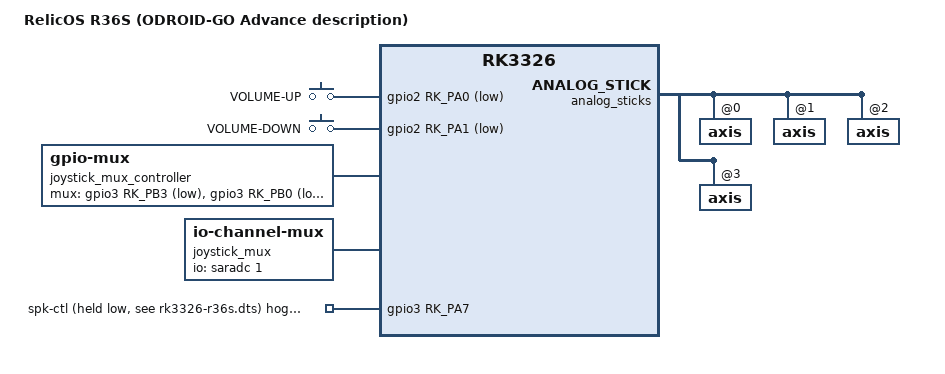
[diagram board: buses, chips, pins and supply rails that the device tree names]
// SPDX-License-Identifier: (GPL-2.0+ OR MIT)
/*
 * RelicOS base device tree for the R36S.
 *
 * This is the mainline ODROID-GO Advance description under a name of our own,
 * with exactly three hardware differences described so far: the panel, the
 * button wiring and the muxed analog sticks (all below). The R36S is close
 * enough to an OGA to bring a kernel up on the serial console; the real
 * differences were each added one change at a time, with the device
 * watching (M6, M7, M8).
 *
 *   - model is what the kernel prints as "Machine model:", so the serial log
 *     proves which DTB was loaded;
 *   - the OGA compatible string is kept in the list, because that is honestly
 *     what this file still mostly describes.
 */

/dts-v1/;
#include "rk3326-odroid-go2.dts"

/ {
	model = "RelicOS R36S (ODROID-GO Advance description)";
	compatible = "relicos,r36s", "hardkernel,rk3326-odroid-go2",
		     "rockchip,rk3326";
};

/*
 * The panel: this unit's actual glass, an R36S "panel 5" (ST7703-family
 * controller, 640x480, 4 lanes), described as data for the generic DSI
 * panel driver (rocknix,generic-dsi, kernel patch 0001) -- timings, flags
 * and the full DCS init sequence live in panel_description; the init runs
 * from .prepare, in command mode, before video starts.
 *
 * How this file got here (M6, one observation per change):
 *  - phase A carried the ArkOS Panel 4 description on this same driver --
 *    device-proven 2026-08-31: init crossed the link with zero errors,
 *    vblanks flowed, backlight lit, and the image was garbled exactly as
 *    predicted for panel-4 data on panel-5 glass. Pipeline validated.
 *  - phase B (this file) swaps only the data: the panel-5 description
 *    generated by attempt 1 from this unit's vendor DTB (AeolusUX
 *    "Panel 5", importpanel.py). SETMIPI here says 0x33 = 4 lanes -- the
 *    2-lane 0x31 of the chi-panel route is what died in take 1.
 *
 * Two mechanical deviations from the generated overlay, both deliberate:
 *  - the leading name='R36S Panel 5' token is stripped: this driver
 *    revision aborts G-line parsing at any unknown parameter, and name=
 *    comes first -- keeping it would silently discard lanes/flags/delays;
 *  - the generator's "# failed to find mode for fps=60" comment line is
 *    dropped as inert noise.
 * Everything else -- flags=0xe03, the vendor delays, all 11 modes with the
 * vendor's 40760 kHz default, every init byte -- is verbatim from the
 * generated overlay: the reference for this unit's glass is its own vendor
 * DTB.
 *
 * Property mechanics: vdd-supply and iovcc-supply are inherited from the
 * OGA base node (both vcc_lcd) and generic-dsi asks for exactly those
 * names; rotation is deleted because this is landscape glass mounted the
 * right way up; reset-gpios (gpio3 PC0) and backlight are inherited
 * unchanged -- measured identical across OGA and every R36S tree compared.
 */
&internal_display {
	compatible = "rocknix,generic-dsi";
	/delete-property/ rotation;
	panel_description =
		"G size=71,71 delays=100,50,20,200,20 format=rgb888 lanes=4 flags=0xe03",

		"M clock=40760 horizontal=640,120,139,120 vertical=480,17,5,13 default=1",
		"M clock=27650 horizontal=640,188,9,190 vertical=480,13,41,5",
		"M clock=25500 horizontal=640,188,2,190 vertical=480,13,2,5",
		"M clock=23930 horizontal=640,87,39,87 vertical=480,13,63,5",
		"M clock=23460 horizontal=640,87,2,87 vertical=480,13,2,5",
		"M clock=26600 horizontal=640,87,20,87 vertical=480,13,36,5",
		"M clock=24840 horizontal=640,87,5,87 vertical=480,13,8,5",
		"M clock=30620 horizontal=640,87,38,87 vertical=480,13,100,5",
		"M clock=43580 horizontal=640,120,168,120 vertical=480,17,41,13",
		"M clock=46350 horizontal=640,120,120,120 vertical=480,17,5,13",
		"M clock=61800 horizontal=640,120,120,120 vertical=480,17,5,13",

		"I seq=b9f11283",
		"I seq=ba338105f90e0e2000000000000000442500910a0000024fd1000037",
		"I seq=b825",
		"I seq=bf021100",
		"I seq=b30c100a5003ff00000000",
		"I seq=c0737350500000087000",
		"I seq=bc46",
		"I seq=cc0b",
		"I seq=b480",
		"I seq=b20013f0",
		"I seq=e307070b0b030b00000000ff00c010",
		"I seq=c153001e1e77e1ccdd67773333",
		"I seq=b51010",
		"I seq=b66c7c",
		"I seq=e908000e0000b0b11131232810b0b127080004020000000004020000008888ba60240888888888888888ba713518888888888800000001000000000000000000",
		"I seq=ea970a820213070000000000008088ba17538888888888888188ba0642888888888888231000028000000000000000000000000000000000000000000000",
		"I seq=e000070b272d3f3b37050a0b0f110f12121800070b272d3f3b37050a0b0f110f121218",
		"I seq=11 wait=150",
		"I seq=29 wait=50";
};

/*
 * The buttons: the R36S wiring, transplanted as data into the mainline
 * gpio-keys driver that has been probing since M4 (M7, one change: this
 * DTS only -- kernel, fragment and boot script untouched).
 *
 * The GPIO->function map comes from two independent lineages that agree
 * entry for entry -- the Arch-R DTS (odroidgo3-joypad node, sw1-sw22) and
 * ROCKNIX (rocknix-r36s.dts / r3xs.dtsi) -- and was device-validated on
 * this unit 2026-08-31 (M7 recon, all 20 table cells confirmed): 10
 * buttons already correct under the inherited OGA map, 5 firing with OGA
 * function-key codes, 4 silent because their gpio3 lines had no
 * description (and float without the pull-ups added below).
 *
 * Layout notes:
 *  - the OGA button-sw* nodes are deleted wholesale and the 17 gamepad
 *    buttons re-described from the R36S table, so this node reads as what
 *    it is: the R36S map, not an OGA diff. Y/X keep the OGA codes on
 *    purpose -- PA6 = Y = BTN_WEST, PA7 = X = BTN_NORTH was confirmed on
 *    this unit (recon pressed X first; the codes matched the wiring).
 *  - volume lives in its own gpio-keys node because autorepeat is a
 *    per-device property: VOLUMEUP/DOWN are keyboard-style keys that
 *    should repeat while held, gamepad buttons must not (games read
 *    held state; menu repeat is the frontend's job). Same split as
 *    Arch-R; ROCKNIX ships no autorepeat at all.
 *  - the analog sticks live in their own section below (M8): mainline
 *    adc-joystick behind an IIO mux -- no buttons in it, the 19 above
 *    stay exactly where M7 proved them.
 */
&builtin_gamepad {
	/delete-node/ button-sw1;
	/delete-node/ button-sw2;
	/delete-node/ button-sw3;
	/delete-node/ button-sw4;
	/delete-node/ button-sw5;
	/delete-node/ button-sw6;
	/delete-node/ button-sw7;
	/delete-node/ button-sw8;
	/delete-node/ button-sw9;
	/delete-node/ button-sw10;
	/delete-node/ button-sw11;
	/delete-node/ button-sw12;
	/delete-node/ button-sw13;
	/delete-node/ button-sw14;
	/delete-node/ button-sw15;
	/delete-node/ button-sw16;

	button-dpad-up {
		gpios = <&gpio1 RK_PB4 GPIO_ACTIVE_LOW>;
		label = "DPAD-UP";
		linux,code = <BTN_DPAD_UP>;
	};
	button-dpad-down {
		gpios = <&gpio1 RK_PB5 GPIO_ACTIVE_LOW>;
		label = "DPAD-DOWN";
		linux,code = <BTN_DPAD_DOWN>;
	};
	button-dpad-left {
		gpios = <&gpio1 RK_PB6 GPIO_ACTIVE_LOW>;
		label = "DPAD-LEFT";
		linux,code = <BTN_DPAD_LEFT>;
	};
	button-dpad-right {
		gpios = <&gpio1 RK_PB7 GPIO_ACTIVE_LOW>;
		label = "DPAD-RIGHT";
		linux,code = <BTN_DPAD_RIGHT>;
	};
	button-a {
		gpios = <&gpio1 RK_PA2 GPIO_ACTIVE_LOW>;
		label = "BTN-A";
		linux,code = <BTN_EAST>;
	};
	button-b {
		gpios = <&gpio1 RK_PA5 GPIO_ACTIVE_LOW>;
		label = "BTN-B";
		linux,code = <BTN_SOUTH>;
	};
	button-y {
		gpios = <&gpio1 RK_PA6 GPIO_ACTIVE_LOW>;
		label = "BTN-Y";
		linux,code = <BTN_WEST>;
	};
	button-x {
		gpios = <&gpio1 RK_PA7 GPIO_ACTIVE_LOW>;
		label = "BTN-X";
		linux,code = <BTN_NORTH>;
	};
	button-thumbl {
		gpios = <&gpio2 RK_PA2 GPIO_ACTIVE_LOW>;
		label = "BTN-THUMBL";
		linux,code = <BTN_THUMBL>;
	};
	button-thumbr {
		gpios = <&gpio2 RK_PA3 GPIO_ACTIVE_LOW>;
		label = "BTN-THUMBR";
		linux,code = <BTN_THUMBR>;
	};
	button-fn {
		gpios = <&gpio2 RK_PA4 GPIO_ACTIVE_LOW>;
		label = "BTN-FN";
		linux,code = <BTN_MODE>;
	};
	button-l1 {
		gpios = <&gpio2 RK_PA6 GPIO_ACTIVE_LOW>;
		label = "BTN-L1";
		linux,code = <BTN_TL>;
	};
	button-r1 {
		gpios = <&gpio2 RK_PA7 GPIO_ACTIVE_LOW>;
		label = "BTN-R1";
		linux,code = <BTN_TR>;
	};
	button-select {
		gpios = <&gpio3 RK_PB1 GPIO_ACTIVE_LOW>;
		label = "BTN-SELECT";
		linux,code = <BTN_SELECT>;
	};
	button-l2 {
		gpios = <&gpio3 RK_PB2 GPIO_ACTIVE_LOW>;
		label = "BTN-L2";
		linux,code = <BTN_TL2>;
	};
	button-start {
		gpios = <&gpio3 RK_PB4 GPIO_ACTIVE_LOW>;
		label = "BTN-START";
		linux,code = <BTN_START>;
	};
	button-r2 {
		gpios = <&gpio3 RK_PB7 GPIO_ACTIVE_LOW>;
		label = "BTN-R2";
		linux,code = <BTN_TR2>;
	};
};

/ {
	gpio_keys_vol: gpio-keys-vol {
		compatible = "gpio-keys";
		autorepeat;
		pinctrl-names = "default";
		pinctrl-0 = <&btn_pins_vol>;

		button-vol-up {
			gpios = <&gpio2 RK_PA0 GPIO_ACTIVE_LOW>;
			label = "VOLUME-UP";
			linux,code = <KEY_VOLUMEUP>;
		};
		button-vol-down {
			gpios = <&gpio2 RK_PA1 GPIO_ACTIVE_LOW>;
			label = "VOLUME-DOWN";
			linux,code = <KEY_VOLUMEDOWN>;
		};
	};
};

/*
 * Button pull-ups. Overriding rockchip,pins replaces the OGA list whole,
 * so this is the full R36S set: the inherited gpio1/gpio2 pins minus the
 * ghost (gpio2 PA5 -- OGA F6, no button on this board) and minus PA0/PA1
 * (volume, moved to btn_pins_vol with its own node above), plus the four
 * gpio3 lines no distro DTB describes together with this panel. Without
 * a pull-up an undescribed line floats and "presses itself".
 */
&btn_pins {
	rockchip,pins = <1 RK_PA2 RK_FUNC_GPIO &pcfg_pull_up>,
			<1 RK_PA5 RK_FUNC_GPIO &pcfg_pull_up>,
			<1 RK_PA6 RK_FUNC_GPIO &pcfg_pull_up>,
			<1 RK_PA7 RK_FUNC_GPIO &pcfg_pull_up>,
			<1 RK_PB4 RK_FUNC_GPIO &pcfg_pull_up>,
			<1 RK_PB5 RK_FUNC_GPIO &pcfg_pull_up>,
			<1 RK_PB6 RK_FUNC_GPIO &pcfg_pull_up>,
			<1 RK_PB7 RK_FUNC_GPIO &pcfg_pull_up>,
			<2 RK_PA2 RK_FUNC_GPIO &pcfg_pull_up>,
			<2 RK_PA3 RK_FUNC_GPIO &pcfg_pull_up>,
			<2 RK_PA4 RK_FUNC_GPIO &pcfg_pull_up>,
			<2 RK_PA6 RK_FUNC_GPIO &pcfg_pull_up>,
			<2 RK_PA7 RK_FUNC_GPIO &pcfg_pull_up>,
			<3 RK_PB1 RK_FUNC_GPIO &pcfg_pull_up>,
			<3 RK_PB2 RK_FUNC_GPIO &pcfg_pull_up>,
			<3 RK_PB4 RK_FUNC_GPIO &pcfg_pull_up>,
			<3 RK_PB7 RK_FUNC_GPIO &pcfg_pull_up>;
};

&pinctrl {
	btns {
		btn_pins_vol: btn-pins-vol {
			rockchip,pins = <2 RK_PA0 RK_FUNC_GPIO &pcfg_pull_up>,
					<2 RK_PA1 RK_FUNC_GPIO &pcfg_pull_up>;
		};
	};

	joystick {
		/* The mux enable line, held asserted (the pin is active-low)
		 * by pinctrl at boot: the analog mux is simply always on.
		 * No conflict with btn_pins: buttons use gpio3 PB1/PB2/PB4/
		 * PB7, the mux uses PB0/PB3/PB5. */
		mux_en_pins: mux-en-pins {
			rockchip,pins = <3 RK_PB5 RK_FUNC_GPIO &pcfg_output_low>;
		};
	};
};

/*
 * The analog sticks: four axes (two sticks x X/Y) multiplexed onto a single
 * SARADC input (channel 1) through GPIO select lines -- described for
 * mainline drivers only (M8): gpio-mux drives the select lines,
 * io-channel-mux presents SARADC channel 1 as four virtual IIO channels,
 * and adc-joystick (the node inherited from the OGA base, rewired below)
 * consumes one channel per axis. No out-of-tree joypad driver, no kernel
 * API patches.
 *
 * The wiring comes from the same two lineages that agreed on the buttons
 * (M7): select A/B = gpio3 PB3/PB0, enable = PB5, all active-low, SARADC
 * channel 1 -- identical between Arch-R's amux-*-gpios and nixos-r36s's
 * mux-gpios/mux_en_pins. The channel->axis map and the two inversions also
 * agree once the GPIO polarity conventions are unwound (Arch-R's legacy
 * gpio API sets raw levels, gpio-mux sets logical ones, and every select
 * line is active-low): mux state 0/1/2/3 = ABS_X/ABS_RX/ABS_Y/ABS_RY,
 * left stick inverted on both axes. Arch-R spells the inversion
 * "invert-absx/invert-absy, required for RG36S"; here it is abs-range
 * with min > max, which mainline adc-joystick honors natively.
 *
 * The abs-range numbers are nixos-r36s's, measured on *their* unit: the
 * starting point, expected to need per-unit recalibration against raw
 * sysfs reads of the mux channels (the M8 observation ladder).
 * poll-interval = <60> ms is inherited from the OGA node.
 */
/ {
	joystick_mux_controller: mux-controller {
		compatible = "gpio-mux";
		pinctrl-names = "default";
		pinctrl-0 = <&mux_en_pins>;
		#mux-control-cells = <0>;

		mux-gpios = <&gpio3 RK_PB3 GPIO_ACTIVE_LOW>,
			    <&gpio3 RK_PB0 GPIO_ACTIVE_LOW>;
	};

	joystick_mux: adc-mux {
		compatible = "io-channel-mux";
		io-channels = <&saradc 1>;
		io-channel-names = "parent";
		#io-channel-cells = <1>;

		mux-controls = <&joystick_mux_controller>;
		channels = "0", "1", "2", "3";
	};
};

/*
 * The OGA node described two axes on two direct SARADC channels (1 and 2)
 * -- wiring this board does not have (and which never probed here anyway:
 * CONFIG_INPUT_JOYSTICK was unset until M8). Rewired to the four mux
 * channels; the two OGA axes are deleted and all four described fresh, so
 * the node reads as the R36S map, not an OGA diff (M7 precedent).
 */
/*
 * Axis order is deliberate, and it is a workaround -- device-measured on
 * this unit, 2026-08-31 (m8-analog log): mainline adc-joystick (through
 * 6.12 and still on master today) calls adc_joystick_invert(input, i, val)
 * with the *channel index* where the function expects an *ABS code* (it
 * looks the axis limits up by code). An inverted axis whose code differs
 * from its index therefore inverts against the wrong axis's limits --
 * here ABS_Y at index 2 read ABS_Z's unset 0/0 limits and reported -raw.
 * The fix is data: keep every *inverted* axis at index == its ABS code
 * (X at 0, Y at 1), which makes buggy and fixed kernels compute the same
 * thing. The physical mux channel each axis reads is preserved by
 * reordering io-channels instead (Y's glass wire is mux channel 2).
 * Uninverted axes never call the invert path, so their slots are free.
 */
&analog_sticks {
	io-channels = <&joystick_mux 0>,
		      <&joystick_mux 2>,
		      <&joystick_mux 1>,
		      <&joystick_mux 3>;

	/delete-node/ axis@0;
	/delete-node/ axis@1;

	axis@0 {
		reg = <0>;
		abs-flat = <10>;
		abs-fuzz = <10>;
		abs-range = <900 30>;
		linux,code = <ABS_X>;
	};

	axis@1 {
		reg = <1>;
		abs-flat = <10>;
		abs-fuzz = <10>;
		abs-range = <880 80>;
		linux,code = <ABS_Y>;
	};

	axis@2 {
		reg = <2>;
		abs-flat = <10>;
		abs-fuzz = <10>;
		abs-range = <80 960>;
		linux,code = <ABS_RX>;
	};

	axis@3 {
		reg = <3>;
		abs-flat = <10>;
		abs-fuzz = <10>;
		abs-range = <60 850>;
		linux,code = <ABS_RY>;
	};
};

/*
 * The sound (M13). The OGA base describes an ODROID-GO Advance speaker:
 * the rk817's class-D output (SPKO) driving the cone, selected with the
 * codec's hardware-exclusive "Playback Mux" (SPK = class-D on the shared
 * SPKO/HPOL pin, HP = the headphone DACs). The R36S is not wired that way.
 * Every lineage that has the board agrees (docs/research/r36s-audio-wiring.md):
 * the speaker is an EXTERNAL amplifier fed from the headphone line
 * HPOL/HPOR, and the class-D is never used -- ROCKNIX's R36S quirk selects
 * mux HP for speakers, its clone template and mainline's
 * rk3326-gameforce-chi.dts describe an amplifier on HPOL/HPOR, Arch-R ships
 * that card for "R36S original and most clone batches". With the mux at
 * SPK this unit produced distortion (m13-som-2253); with it at HP and the
 * I2S clock fixed (kernel patch 0002) it plays clean (m13-som-1115).
 *
 * So the card is a plain simple-audio-card with both outputs on the
 * headphone DACs. What the ecosystem templates add on top was measured on
 * this unit and does NOT apply here:
 *
 *  - gpio3 PA7 is the amplifier ENABLE on V20 clones (vendor DTB
 *    `spk-ctl-gpios`, active high). Here it gates nothing: the speaker
 *    plays with PA7 low and high alike (m13-som-1239). What PA7 does do is
 *    corrupt the speaker path when driven HIGH with a plug in the jack
 *    (m13-som-1321: distorted hiss from the speaker next to clean
 *    headphones), while LOW never costs anything (four states measured).
 *    Hence the gpio-hog below and no simple-audio-amplifier.
 *  - gpio2 C6 is the jack DETECT on the OGA and the clone templates. Here
 *    it reads high with no pull, with a pull-up and against a pull-down,
 *    plug in or out (m13-som-2356, -1126, -1148): driven high from
 *    outside, never an event. The jack switches speaker/headphones
 *    MECHANICALLY (plug in: headphones only; out: speaker only). So no
 *    hp-det: under ACTIVE_HIGH a stuck-high detect would report
 *    "headphones" forever.
 *
 * The card keeps the ecosystem name rk817_ext ("external amplifier on the
 * headphone line" is true here too); the ID in /proc/asound/cards is
 * rk817ext. No microphone: the R36S has none.
 */
/ {
	/delete-node/ rk817-sound;

	sound {
		compatible = "simple-audio-card";
		simple-audio-card,name = "rk817_ext";
		simple-audio-card,format = "i2s";
		simple-audio-card,mclk-fs = <256>;
		simple-audio-card,widgets =
			"Headphone", "Headphones",
			"Speaker", "Internal Speakers";
		simple-audio-card,routing =
			"Headphones", "HPOL",
			"Headphones", "HPOR",
			"Internal Speakers", "HPOL",
			"Internal Speakers", "HPOR";

		simple-audio-card,codec {
			sound-dai = <&rk817>;
		};

		simple-audio-card,cpu {
			sound-dai = <&i2s1_2ch>;
		};
	};
};

&gpio3 {
	/* PA7 high with a plug in the jack corrupts the speaker path; low
	 * never costs anything (see "The sound"). Held low from boot. */
	spk_ctl_hog: spk-ctl-hog {
		gpio-hog;
		gpios = <RK_PA7 GPIO_ACTIVE_HIGH>;
		output-low;
		line-name = "spk-ctl (held low, see rk3326-r36s.dts)";
	};
};
